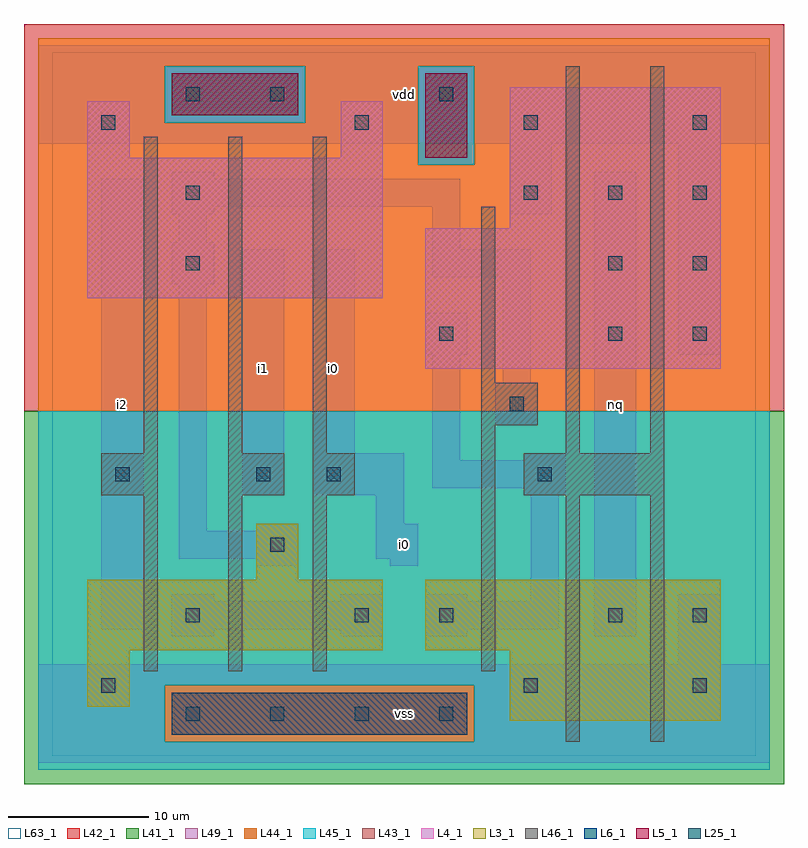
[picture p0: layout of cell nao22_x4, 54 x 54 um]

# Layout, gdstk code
import gdstk
lib = gdstk.Library(unit=1e-6, precision=1e-09)
def R(c, l, rs):  # rectangles x0, y0, x1, y1
    for r in rs: c.add(gdstk.rectangle(r[:2], r[2:], *l))
def A(c, l, x, y, w, h, nx, ny, dx, dy):  # array of equal rectangles
    R(c, l, [(x+i*dx, y+j*dy, x+i*dx+w, y+j*dy+h) for i in range(nx) for j in range(ny)])
L3_1 = (3, 1)
L4_1 = (4, 1)
L5_1 = (5, 1)
L6_1 = (6, 1)
L25_1 = (25, 1)
L41_1 = (41, 1)
L42_1 = (42, 1)
L43_1 = (43, 1)
L44_1 = (44, 1)
L45_1 = (45, 1)
L46_1 = (46, 1)
L49_1 = (49, 1)
L63_1 = (63, 1)

nao22_x4 = lib.new_cell('nao22_x4')
R(nao22_x4, L3_1, [(32.5,2.5,47.5,7.5), (2.5,3.5,5.5,7.5), (2.5,7.5,23.5,12.5), (26.5,7.5,47.5,12.5), (14.5,12.5,17.5,16.5)])
R(nao22_x4, L4_1, [(26.5,27.5,47.5,37.5), (2.5,32.5,23.5,42.5), (32.5,37.5,47.5,47.5), (2.5,42.5,5.5,46.5), (20.5,42.5,23.5,46.5)])
R(nao22_x4, L5_1, [(26.5,42.5,29.5,48.5), (8.5,45.5,17.5,48.5)])
R(nao22_x4, L6_1, [(8.5,1.5,29.5,4.5)])
A(nao22_x4, L25_1, 9.5, 2.5, 1, 1, 4, 1, 6, 0)
A(nao22_x4, L25_1, 33.5, 39.5, 1, 1, 3, 1, 6, 0)
A(nao22_x4, L25_1, 21.5, 44.5, 1, 1, 3, 1, 12, 0)
R(nao22_x4, L25_1, [(3.5,4.5,4.5,5.5), (33.5,4.5,34.5,5.5), (45.5,4.5,46.5,5.5), (9.5,9.5,10.5,10.5), (21.5,9.5,22.5,10.5), (27.5,9.5,28.5,10.5), (39.5,9.5,40.5,10.5), (45.5,9.5,46.5,10.5), (15.5,14.5,16.5,15.5), (4.5,19.5,5.5,20.5), (14.5,19.5,15.5,20.5), (19.5,19.5,20.5,20.5), (34.5,19.5,35.5,20.5), (32.5,24.5,33.5,25.5), (27.5,29.5,28.5,30.5), (39.5,29.5,40.5,30.5), (45.5,29.5,46.5,30.5), (9.5,34.5,10.5,35.5), (39.5,34.5,40.5,35.5), (45.5,34.5,46.5,35.5), (9.5,39.5,10.5,40.5), (3.5,44.5,4.5,45.5), (9.5,46.5,10.5,47.5), (15.5,46.5,16.5,47.5), (27.5,46.5,28.5,47.5)])
R(nao22_x4, L41_1, [(-2,-2,52,24.5)])
R(nao22_x4, L42_1, [(-2,24.5,52,52)])
R(nao22_x4, L43_1, [(8.5,1.5,29.5,4.5), (32.5,2.5,47.5,7.5), (2.5,3.5,5.5,7.5), (2.5,7.5,23.5,12.5), (26.5,7.5,47.5,12.5), (14.5,12.5,17.5,16.5), (26.5,27.5,47.5,37.5), (2.5,32.5,23.5,42.5), (32.5,37.5,47.5,47.5), (2.5,42.5,5.5,46.5), (20.5,42.5,23.5,46.5), (26.5,42.5,29.5,48.5), (8.5,45.5,17.5,48.5)])
R(nao22_x4, L44_1, [(8,1,30,5), (-1,24.5,51,42), (-1,42,26,45), (30,42,51,49), (-1,45,8,49), (18,45,26,49), (-1,49,51,51)])
R(nao22_x4, L45_1, [(-1,-1,51,1), (-1,1,8,5), (30,1,51,5), (-1,5,51,24.5), (26,42,30,49), (8,45,18,49)])
A(nao22_x4, L46_1, 6.5, 6, 1, 12.5, 3, 1, 6, 0)
A(nao22_x4, L46_1, 6.5, 21.5, 1, 22.5, 3, 1, 6, 0)
R(nao22_x4, L46_1, [(36.5,1,37.5,18.5), (42.5,1,43.5,18.5), (30.5,6,31.5,23.5), (3.5,18.5,7.5,21.5), (12.5,18.5,16.5,21.5), (18.5,18.5,21.5,21.5), (33.5,18.5,43.5,21.5), (36.5,21.5,37.5,49), (42.5,21.5,43.5,49), (30.5,23.5,34.5,26.5), (30.5,26.5,31.5,39)])
R(nao22_x4, L49_1, [(-1,-0.5,51,6.5), (44.5,6.5,47.5,11.5), (8.5,8.5,11.5,9), (20.5,8.5,23.5,9), (26.5,8.5,29.5,9), (38.5,8.5,41.5,41.5), (3.5,9,6.5,41), (8.5,9,23.5,11), (26.5,9,36,11), (8.5,11,11.5,11.5), (20.5,11,23.5,11.5), (26.5,11,29.5,11.5), (34,11,36,18.5), (14.5,13.5,17.5,14), (24,13.5,26,14), (9,14,17.5,16), (23,14,26,16.5), (9,16,11,33.5), (14.5,16,17.5,16.5), (23,16.5,25,18.5), (13.5,18.5,16.5,36), (18.5,18.5,25,21.5), (33.5,18.5,36.5,19), (27,19,36.5,21), (27,21,29,28.5), (33.5,21,36.5,21.5), (18.5,21.5,21.5,36), (31.5,23.5,34.5,26.5), (32,26.5,34,34), (26.5,28.5,29.5,31.5), (44.5,28.5,47.5,43.5), (8.5,33.5,11.5,36.5), (27,34,34,36), (27,36,29,39), (9,36.5,11,38.5), (8.5,38.5,11.5,39), (32.5,38.5,35.5,43.5), (8.5,39,29,41), (8.5,41,11.5,41.5), (-1,43.5,51,50.5)])
R(nao22_x4, L63_1, [(0,0,50,50)])
nao22_x4.add(gdstk.Label('i2', (5,25), layer=49, texttype=1))
nao22_x4.add(gdstk.Label('i2', (5,25), layer=49, texttype=1))
nao22_x4.add(gdstk.Label('i1', (15,27.5), layer=49, texttype=1))
nao22_x4.add(gdstk.Label('i0', (20,27.5), layer=49, texttype=1))
nao22_x4.add(gdstk.Label('i0', (20,27.5), layer=49, texttype=1))
nao22_x4.add(gdstk.Label('i1', (15,27.5), layer=49, texttype=1))
nao22_x4.add(gdstk.Label('vss', (25,3), layer=49, texttype=1))
nao22_x4.add(gdstk.Label('vss', (25,3), layer=49, texttype=1))
nao22_x4.add(gdstk.Label('i0', (25,15), layer=49, texttype=1))
nao22_x4.add(gdstk.Label('i0', (25,15), layer=49, texttype=1))
nao22_x4.add(gdstk.Label('vdd', (25,47), layer=49, texttype=1))
nao22_x4.add(gdstk.Label('vdd', (25,47), layer=49, texttype=1))
nao22_x4.add(gdstk.Label('nq', (40,25), layer=49, texttype=1))
nao22_x4.add(gdstk.Label('nq', (40,25), layer=49, texttype=1))

lib.write_gds('nao22_x4.gds')
